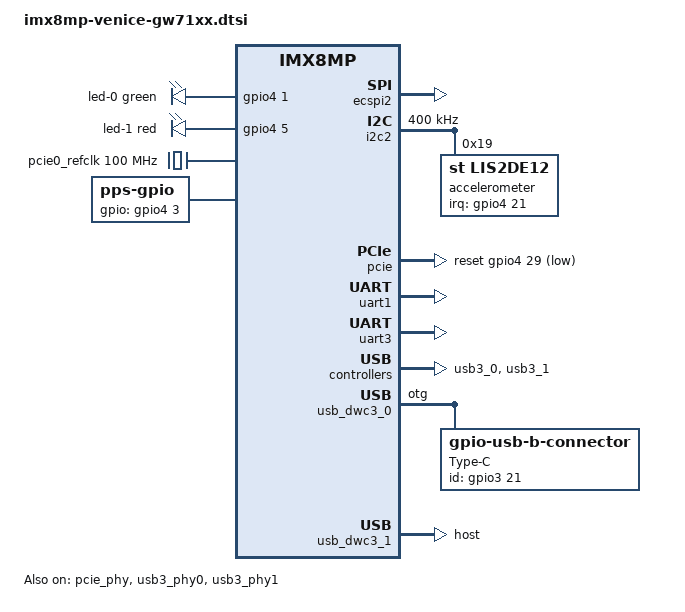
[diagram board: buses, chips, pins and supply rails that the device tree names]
// SPDX-License-Identifier: (GPL-2.0+ OR MIT)
/*
 * Copyright 2023 Gateworks Corporation
 */

#include <dt-bindings/gpio/gpio.h>
#include <dt-bindings/leds/common.h>
#include <dt-bindings/phy/phy-imx8-pcie.h>

/ {
	led-controller {
		compatible = "gpio-leds";
		pinctrl-names = "default";
		pinctrl-0 = <&pinctrl_gpio_leds>;

		led-0 {
			function = LED_FUNCTION_STATUS;
			color = <LED_COLOR_ID_GREEN>;
			gpios = <&gpio4 1 GPIO_ACTIVE_HIGH>;
			default-state = "on";
			linux,default-trigger = "heartbeat";
		};

		led-1 {
			function = LED_FUNCTION_STATUS;
			color = <LED_COLOR_ID_RED>;
			gpios = <&gpio4 5 GPIO_ACTIVE_HIGH>;
			default-state = "off";
		};
	};

	pcie0_refclk: clock-pcie0 {
		compatible = "fixed-clock";
		#clock-cells = <0>;
		clock-frequency = <100000000>;
	};

	pps {
		compatible = "pps-gpio";
		pinctrl-names = "default";
		pinctrl-0 = <&pinctrl_pps>;
		gpios = <&gpio4 3 GPIO_ACTIVE_HIGH>;
		status = "okay";
	};
};

/* off-board header */
&ecspi2 {
	pinctrl-names = "default";
	pinctrl-0 = <&pinctrl_spi2>;
	cs-gpios = <&gpio5 13 GPIO_ACTIVE_LOW>;
	status = "okay";
};

&gpio4 {
	gpio-line-names =
		"", "", "", "",
		"", "", "", "",
		"dio1", "", "", "dio0",
		"", "", "pci_usb_sel", "",
		"", "", "", "",
		"", "", "", "",
		"dio3", "", "dio2", "",
		"pci_wdis#", "", "", "";
};

&i2c2 {
	clock-frequency = <400000>;
	pinctrl-names = "default";
	pinctrl-0 = <&pinctrl_i2c2>;
	status = "okay";

	accelerometer@19 {
		compatible = "st,lis2de12";
		reg = <0x19>;
		pinctrl-names = "default";
		pinctrl-0 = <&pinctrl_accel>;
		st,drdy-int-pin = <1>;
		interrupt-parent = <&gpio4>;
		interrupts = <21 IRQ_TYPE_LEVEL_LOW>;
		interrupt-names = "INT1";
	};
};

&pcie_phy {
	fsl,refclk-pad-mode = <IMX8_PCIE_REFCLK_PAD_INPUT>;
	fsl,clkreq-unsupported;
	clocks = <&pcie0_refclk>;
	clock-names = "ref";
	status = "okay";
};

&pcie {
	pinctrl-names = "default";
	pinctrl-0 = <&pinctrl_pcie0>;
	reset-gpio = <&gpio4 29 GPIO_ACTIVE_LOW>;
	status = "okay";
};

/* GPS */
&uart1 {
	pinctrl-names = "default";
	pinctrl-0 = <&pinctrl_uart1>;
	status = "okay";
};

/* off-board header */
&uart3 {
	pinctrl-names = "default";
	pinctrl-0 = <&pinctrl_uart3>;
	status = "okay";
};

/* USB1 Type-C front panel */
&usb3_0 {
	pinctrl-names = "default";
	pinctrl-0 = <&pinctrl_usb1>;
	fsl,over-current-active-low;
	status = "okay";
};

&usb3_phy0 {
	status = "okay";
};

&usb_dwc3_0 {
	/* dual role is implemented but not a full featured OTG */
	adp-disable;
	hnp-disable;
	srp-disable;
	dr_mode = "otg";
	usb-role-switch;
	role-switch-default-mode = "peripheral";
	status = "okay";

	connector {
		compatible = "gpio-usb-b-connector", "usb-b-connector";
		pinctrl-names = "default";
		pinctrl-0 = <&pinctrl_usbcon1>;
		type = "micro";
		label = "Type-C";
		id-gpios = <&gpio3 21 GPIO_ACTIVE_HIGH>;
	};
};

/* USB2 - MiniPCIe socket */
&usb3_1 {
	fsl,permanently-attached;
	fsl,disable-port-power-control;
	status = "okay";
};

&usb3_phy1 {
	status = "okay";
};

&usb_dwc3_1 {
	dr_mode = "host";
	status = "okay";
};

&iomuxc {
	pinctrl-names = "default";
	pinctrl-0 = <&pinctrl_hog>;

	pinctrl_hog: hoggrp {
		fsl,pins = <
			MX8MP_IOMUXC_SAI1_RXD6__GPIO4_IO08	0x40000146 /* DIO1 */
			MX8MP_IOMUXC_SAI1_TXC__GPIO4_IO11	0x40000146 /* DIO0 */
			MX8MP_IOMUXC_SAI1_TXD2__GPIO4_IO14	0x40000106 /* PCIE_USBSEL */
			MX8MP_IOMUXC_SAI2_TXD0__GPIO4_IO26	0x40000146 /* DIO2 */
			MX8MP_IOMUXC_SAI2_TXFS__GPIO4_IO24	0x40000146 /* DIO3 */
			MX8MP_IOMUXC_SAI3_RXFS__GPIO4_IO28	0x40000106 /* PCIE_WDIS# */
		>;
	};

	pinctrl_accel: accelgrp {
		fsl,pins = <
			MX8MP_IOMUXC_SAI2_RXFS__GPIO4_IO21	0x150	/* IRQ */
		>;
	};

	pinctrl_gpio_leds: gpioledgrp {
		fsl,pins = <
			MX8MP_IOMUXC_SAI1_RXC__GPIO4_IO01	0x6	/* LEDG */
			MX8MP_IOMUXC_SAI1_RXD3__GPIO4_IO05	0x6	/* LEDR */
		>;
	};

	pinctrl_pcie0: pcie0grp {
		fsl,pins = <
			MX8MP_IOMUXC_SAI3_RXC__GPIO4_IO29	0x106
		>;
	};

	pinctrl_pps: ppsgrp {
		fsl,pins = <
			MX8MP_IOMUXC_SAI1_RXD1__GPIO4_IO03	0x146
		>;
	};

	pinctrl_usb1: usb1grp {
		fsl,pins = <
			MX8MP_IOMUXC_GPIO1_IO13__USB1_OTG_OC	0x140 /* USB1_FLT# */
		>;
	};

	pinctrl_usbcon1: usbcon1grp {
		fsl,pins = <
			MX8MP_IOMUXC_SAI5_RXD0__GPIO3_IO21	0x140 /* USB1_ID */
		>;
	};

	pinctrl_spi2: spi2grp {
		fsl,pins = <
			MX8MP_IOMUXC_ECSPI2_SCLK__ECSPI2_SCLK	0x140
			MX8MP_IOMUXC_ECSPI2_MOSI__ECSPI2_MOSI	0x140
			MX8MP_IOMUXC_ECSPI2_MISO__ECSPI2_MISO	0x140
			MX8MP_IOMUXC_ECSPI2_SS0__GPIO5_IO13	0x140
		>;
	};

	pinctrl_uart1: uart1grp {
		fsl,pins = <
			MX8MP_IOMUXC_UART1_RXD__UART1_DCE_RX	0x140
			MX8MP_IOMUXC_UART1_TXD__UART1_DCE_TX	0x140
		>;
	};

	pinctrl_uart3: uart3grp {
		fsl,pins = <
			MX8MP_IOMUXC_UART3_RXD__UART3_DCE_RX	0x140
			MX8MP_IOMUXC_UART3_TXD__UART3_DCE_TX	0x140
		>;
	};
};
